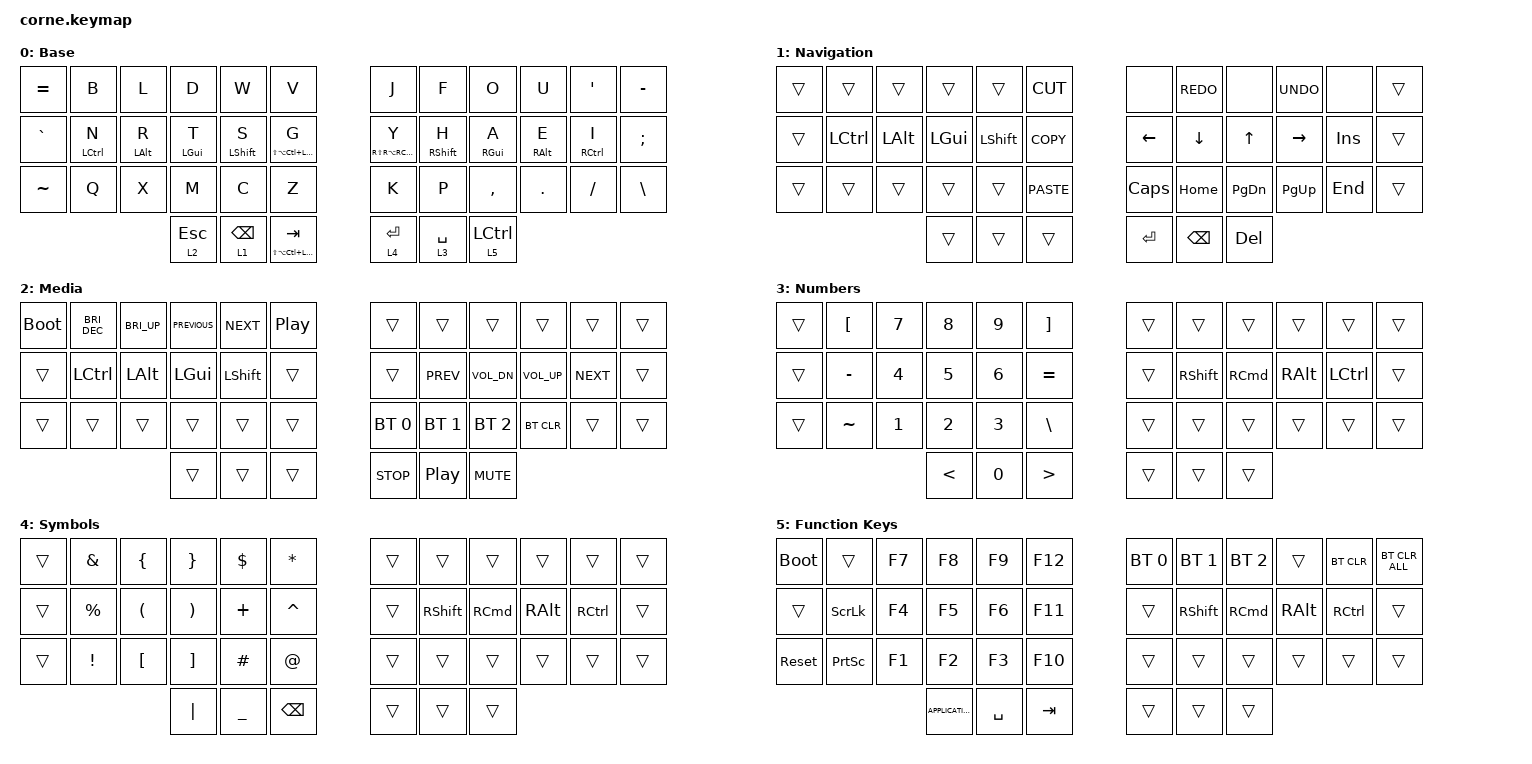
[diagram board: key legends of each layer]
/*
 * Copyright (c) 2020 The ZMK Contributors
 *
 * SPDX-License-Identifier: MIT
 */
// ZMK includes

#include <behaviors.dtsi>
#include <dt-bindings/zmk/bt.h>
#include <dt-bindings/zmk/keys.h>

// Define layers number

#define Base 0
#define Nav 1
#define Media 2
#define Num 3
#define Symbol 4
#define FN 5
#define QWERTY 6

/ {
    behaviours {
        hm_l: homerow_mods_left {
            compatible = "zmk,behavior-hold-tap";
            #binding-cells = <2>;
            bindings = <&kp>, <&kp>;

            flavor = "balanced";
            tapping-term-ms = <280>;
            quick-tap-ms = <175>;
            require-prior-idle-ms = <150>;
            hold-trigger-key-positions = <13 14 15 16>;
            hold-trigger-on-release;
        };

        hm_r: homerow_mods_right {
            compatible = "zmk,behavior-hold-tap";
            #binding-cells = <2>;
            bindings = <&kp>, <&kp>;

            flavor = "balanced";
            tapping-term-ms = <280>;
            quick-tap-ms = <175>;
            require-prior-idle-ms = <150>;
            hold-trigger-key-positions = <20 21 22 23>;
            hold-trigger-on-release;
        };
    };
};

/ {
    behaviors {
    };

    combos {
        compatible = "zmk,combos";

        Pinkyless_B {
            bindings = <&kp B>;
            key-positions = <1 2>;
        };

        Esc_combo {
            bindings = <&kp ESCAPE>;
            key-positions = <13 14>;
        };
    };

    keymap {
        compatible = "zmk,keymap";

        Base_layer {
            display-name = "Base";

            // ---------------------------------------------------------------------------------------------------------------------------------
            // |  B  |  L  |  D  |  W  |  V  |        |  J  |  F  |  O  |  U  |  '  |
            // |  N  |  R  |  T  |  S  |  G  |        |  Y  |  H  |  A  |  E  |  I  |
            // |  X  |  Q  |  M  |  C  |  Z  |        |  K  |  P  |  .  |  ;  |  ,  |
            //                 |  BSPC  |  TAB  |   |  ENTER  |  SPC  | 

            bindings = <
&kp EQUAL  &kp B          &kp L         &kp D         &kp W               &kp V                               &kp J                              &kp F                &kp O               &kp U         &kp APOS       &kp MINUS
&kp GRAVE  &hm_l LCTRL N  &hm_l LALT R  &hm_l LGUI T  &hm_l LEFT_SHIFT S  &hm_l LS(LA(LC(LEFT_COMMAND))) G    &hm_r RS(RA(RC(RIGHT_COMMAND))) Y  &hm_r RIGHT_SHIFT H  &hm_r RGUI A        &hm_r RALT E  &hm_r RCTRL I  &kp SEMICOLON
&kp TILDE  &kp Q          &kp X         &kp M         &kp C               &kp Z                               &kp K                              &kp P                &kp COMMA           &kp DOT       &kp SLASH      &kp BACKSLASH
                                        &lt 2 ESCAPE  &lt 1 BACKSPACE     &hm_l LS(LA(LC(LEFT_GUI))) TAB      &lt 4 ENTER                        &lt 3 SPACE          &lt 5 LEFT_CONTROL
            >;
        };

        Nav_layer {
            display-name = "Navigation";
            bindings = <
&trans  &trans     &trans    &trans    &trans     &kp K_CUT      &none           &kp K_REDO      &none          &kp K_UNDO       &none       &trans
&trans  &kp LCTRL  &kp LALT  &kp LGUI  &kp LSHFT  &kp K_COPY     &kp LEFT_ARROW  &kp DOWN_ARROW  &kp UP_ARROW   &kp RIGHT_ARROW  &kp INSERT  &trans
&trans  &trans     &trans    &trans    &trans     &kp K_PASTE    &kp CAPSLOCK    &kp HOME        &kp PAGE_DOWN  &kp PAGE_UP      &kp END     &trans
                             &trans    &trans     &trans         &kp RETURN      &kp BACKSPACE   &kp DELETE
            >;
        };

        Media_layer {
            display-name = "Media";
            bindings = <
&bootloader  &kp C_BRI_DEC  &kp C_BRI_UP  &kp C_PREVIOUS  &kp C_NEXT  &kp C_PP    &trans        &trans            &trans        &trans        &trans      &trans
&trans       &kp LCTRL      &kp LALT      &kp LGUI        &kp LSHFT   &trans      &trans        &kp C_PREV        &kp C_VOL_DN  &kp C_VOL_UP  &kp C_NEXT  &trans
&trans       &trans         &trans        &trans          &trans      &trans      &bt BT_SEL 0  &bt BT_SEL 1      &bt BT_SEL 2  &bt BT_CLR    &trans      &trans
                                          &trans          &trans      &trans      &kp K_STOP    &kp C_PLAY_PAUSE  &kp K_MUTE
            >;
        };

        Num_layer {
            display-name = "Numbers";
            bindings = <
&trans  &kp LEFT_BRACKET  &kp N7  &kp N8         &kp N9  &kp RIGHT_BRACKET    &trans  &trans           &trans             &trans         &trans            &trans
&trans  &kp MINUS         &kp N4  &kp N5         &kp N6  &kp EQUAL            &trans  &kp RIGHT_SHIFT  &kp RIGHT_COMMAND  &kp RIGHT_ALT  &kp LEFT_CONTROL  &trans
&trans  &kp TILDE         &kp N1  &kp N2         &kp N3  &kp BSLH             &trans  &trans           &trans             &trans         &trans            &trans
                                  &kp LESS_THAN  &kp N0  &kp GREATER_THAN     &trans  &trans           &trans
            >;
        };

        Symbol_layer {
            display-name = "Symbols";
            bindings = <
&trans  &kp AMPERSAND    &kp LEFT_BRACE        &kp RIGHT_BRACE        &kp DLLR        &kp ASTERISK     &trans  &trans           &trans             &trans         &trans             &trans
&trans  &kp PERCENT      &kp LEFT_PARENTHESIS  &kp RIGHT_PARENTHESIS  &kp PLUS        &kp CARET        &trans  &kp RIGHT_SHIFT  &kp RIGHT_COMMAND  &kp RIGHT_ALT  &kp RIGHT_CONTROL  &trans
&trans  &kp EXCLAMATION  &kp LEFT_BRACKET      &kp RIGHT_BRACKET      &kp POUND       &kp AT_SIGN      &trans  &trans           &trans             &trans         &trans             &trans
                                               &kp PIPE               &kp UNDERSCORE  &kp BACKSPACE    &trans  &trans           &trans
            >;
        };

        FN_layer {
            label = "Function Keys";
            bindings = <
&bootloader  &trans           &kp F7  &kp F8             &kp F9     &kp F12    &bt BT_SEL 0  &bt BT_SEL 1     &bt BT_SEL 2       &trans         &bt BT_CLR         &bt BT_CLR_ALL
&trans       &kp SCROLLLOCK   &kp F4  &kp F5             &kp F6     &kp F11    &trans        &kp RIGHT_SHIFT  &kp RIGHT_COMMAND  &kp RIGHT_ALT  &kp RIGHT_CONTROL  &trans
&sys_reset   &kp PRINTSCREEN  &kp F1  &kp F2             &kp F3     &kp F10    &trans        &trans           &trans             &trans         &trans             &trans
                                      &kp K_APPLICATION  &kp SPACE  &kp TAB    &trans        &trans           &trans
            >;
        };
    };

    conditional_layers { compatible = "zmk,conditional-layers"; };
};
